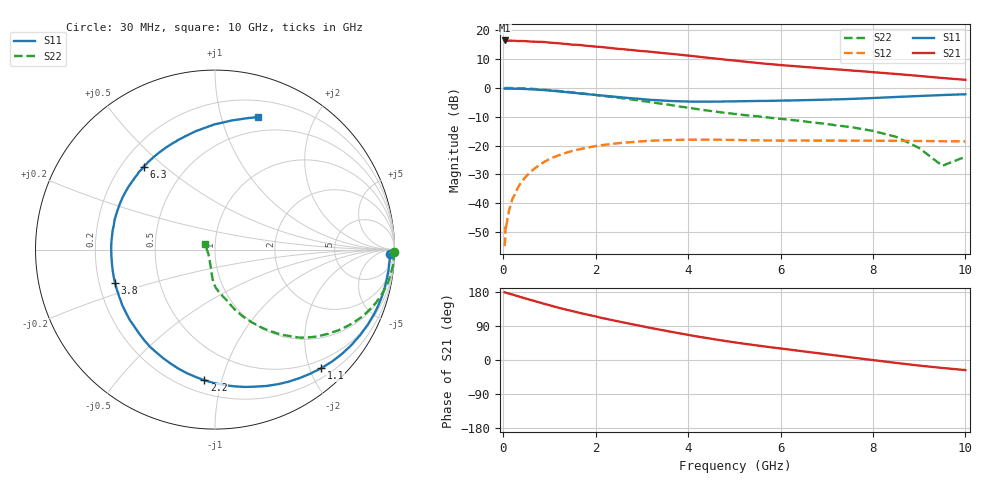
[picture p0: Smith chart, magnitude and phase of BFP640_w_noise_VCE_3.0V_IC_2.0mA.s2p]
! (c) 2013  Infineon Technologies AG, Munich
! Infineon Technologies  Discrete & RF Semiconductors
! BFP640
! VCE =  3.0 V,  IC =  2.0 mA
! Common Emitter S-Parameters:  Apr 2013
# GHz  S  MA  R  50
!  f  S11  S21  S12  S22
! GHz  MAG  ANG  MAG  ANG  MAG  ANG  MAG  ANG
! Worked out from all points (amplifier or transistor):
!   99 points, 30 MHz to 10 GHz, reference 50 ohm
!   highest |S21| = 16.5 dB at 30 MHz (marker M1)
!   |S21| within 3 dB of that: start of sweep to 2.564 GHz
!   unconditionally stable (mu >= 1): 6.222 GHz to end of sweep
!   at 350 MHz: K = 0.04, MSG = 25.0 dB, |S12| = -33.7 dB
!   at 3.5 GHz: K = 0.56, MSG = 15.1 dB, |S12| = -18.1 dB
!   at 10 GHz: K = 1.28, MAG = 7.5 dB, |S12| = -18.5 dB
!   lowest NFmin = 0.53 dB at 450 MHz
!   S11 on the Smith chart (normalised r, x): 30 MHz: 44, -37; 1.1 GHz: 0.35, -2.19; 2.2 GHz: 0.28, -0.88; 3.8 GHz: 0.27, -0.15; 6.3 GHz: 0.29, +0.43; 10 GHz: 0.35, +1.32
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0.03  0.9738 -1.3  6.666 178.4  0.0018 82.5  0.9988 -0.7
0.04  0.9755 -1.7  6.455 178.1  0.0022 91.4  0.9995 -0.9
0.05  0.9765 -2.1  6.576 178.1  0.0039 106.8  0.9992 -1.3
0.06  0.9746 -2.5  6.516 177.5  0.0035 81.3  0.9986 -1.5
0.13  0.9742 -5.6  6.594 175.1  0.0078 89.7  0.9975 -3.0
0.35  0.9666 -15.2  6.524 167.2  0.0207 81.6  0.9885 -8.2
0.5  0.9569 -21.8  6.472 161.8  0.0296 78.6  0.9772 -11.6
0.8  0.9274 -35.1  6.308 151.3  0.0472 70.2  0.9446 -18.2
1.1  0.8875 -48.1  6.036 141.2  0.0631 61.6  0.9003 -24.5
1.4  0.8427 -60.8  5.753 131.8  0.0767 53.8  0.8523 -30.0
1.7  0.7956 -73.7  5.518 123.0  0.0879 46.8  0.8024 -34.9
2.2  0.7302 -94.7  5.053 109.3  0.1035 36.1  0.7223 -42.5
2.8  0.6598 -119.6  4.533 94.1  0.1153 25.1  0.6262 -49.9
3.4  0.6076 -144.9  4.078 79.8  0.1233 15.6  0.5352 -56.9
3.8  0.5874 -161.4  3.789 70.7  0.1256 10.1  0.4787 -61.1
4.4  0.579 176.2  3.36 58.1  0.1268 2.4  0.4075 -66.9
5.1  0.5874 155.4  2.932 44.9  0.125 -4.2  0.3481 -72.0
6.3  0.6097 130.7  2.388 25.8  0.1222 -11.6  0.2745 -78.9
6.7  0.619 123.2  2.258 19.7  0.1221 -13.9  0.2523 -82.0
8.5  0.6971 90.4  1.747 -7.7  0.1208 -23.1  0.1419 -97.1
9.5  0.753 76.4  1.489 -21.0  0.1191 -26.6  0.0447 -144.1
10  0.7771 71.9  1.383 -26.6  0.1184 -27.7  0.064 151.5
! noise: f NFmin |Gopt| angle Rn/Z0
0.45  0.53  0.6  13  0.24
0.9  0.57  0.61  23  0.23
1.5  0.69  0.53  39  0.22
1.9  0.75  0.48  53  0.21
2.4  0.82  0.45  63  0.2
3.5  0.97  0.38  91  0.18
5.5  1.34  0.35  -173  0.18
10  2.34  0.67  -68  0.71
